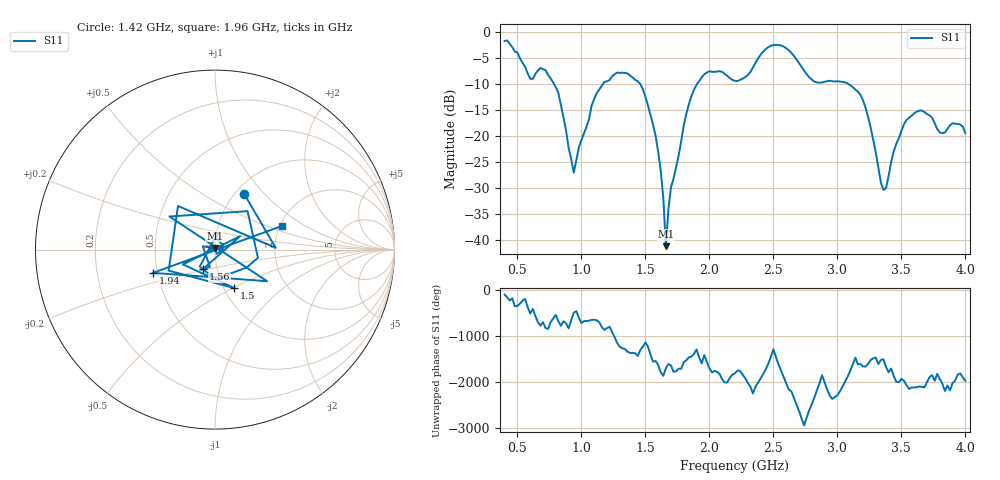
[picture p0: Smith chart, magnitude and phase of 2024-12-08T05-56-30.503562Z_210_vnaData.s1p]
!Created with skrf (http://scikit-rf.org).
# Hz S RI R 50.0
!freq ReS11 ImS11
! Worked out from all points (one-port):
!   181 points, 400 MHz to 4 GHz, reference 50 ohm
!   lowest |S11| = -41.2 dB at 1.66 GHz (marker M1), VSWR 1.02, Z = 49.9 + j0.86 ohm
!   |S11| at or under -10 dB: 787 MHz to 1.167 GHz (380.1 MHz wide, 38.9 % of centre); 1.461 GHz to 1.902 GHz (440.7 MHz wide, 26.2 % of centre); 3.09 GHz to end of sweep
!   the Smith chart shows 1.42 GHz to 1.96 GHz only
!   S11 on the Smith chart (normalised r, x): 1.42 GHz: 1.10, +0.78; 1.5 GHz: 1.12, -0.51; 1.56 GHz: 0.85, -0.19; 1.94 GHz: 0.47, -0.14; 1.96 GHz: 2.05, +0.64
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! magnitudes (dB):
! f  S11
! 400 MHz  -1.7
! 600 MHz  -8.9
! 720 MHz  -7.3
! 820 MHz  -11.7
! 860 MHz  -16.4
! 940 MHz  -27.0
! 1.12 GHz  -11.7
! 1.3 GHz  -7.8
! 1.42 GHz  -9.1
! 1.5 GHz  -12.4
! 1.56 GHz  -17.8
! 1.62 GHz  -26.7
! 1.66 GHz  -41.2
! 1.7 GHz  -29.9
! 1.76 GHz  -23.7
! 1.84 GHz  -13.8
! 1.94 GHz  -8.7
! 1.96 GHz  -8.1
! 2.2 GHz  -9.3
! 2.48 GHz  -2.6
! 2.66 GHz  -4.5
! 2.82 GHz  -9.5
! 3.1 GHz  -10.2
! 3.22 GHz  -14.6
! 3.36 GHz  -30.4
! 3.56 GHz  -16.5
! 3.66 GHz  -15.1
! 4 GHz  -19.4
